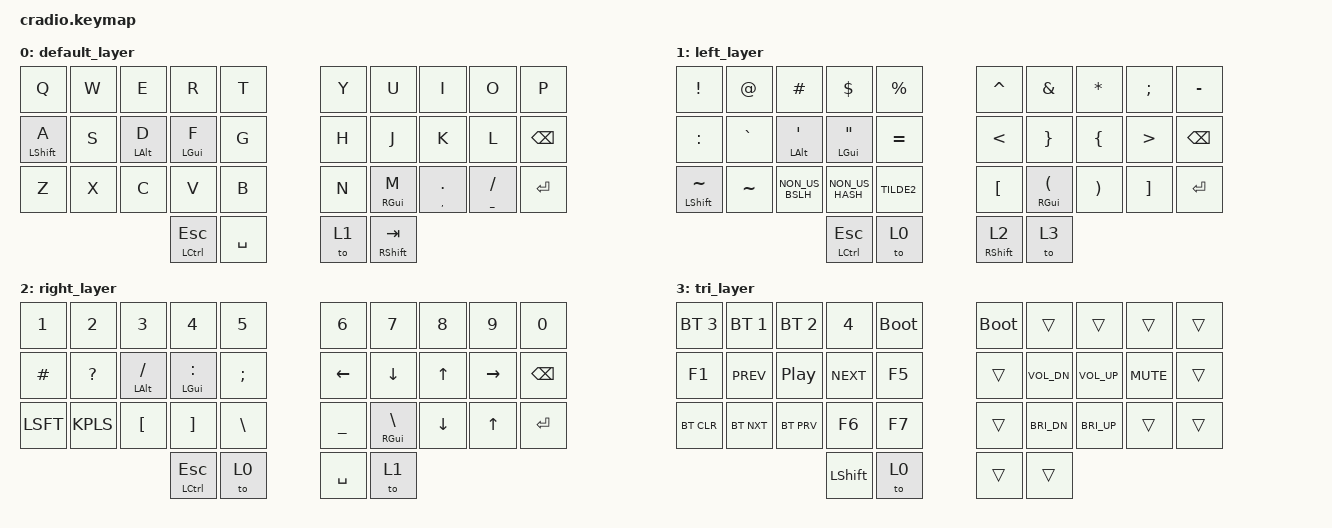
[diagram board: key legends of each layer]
/*
 * Copyright (c) 2020 The ZMK Contributors
 *
 * SPDX-License-Identifier: MIT
 */

#include <behaviors.dtsi>
#include <dt-bindings/zmk/keys.h>
#include <dt-bindings/zmk/bt.h>


&mt {
  //  flavor = "tap-preferred";
   // tapping_term_ms = <200>;
};

/ { 

  combos {
    compatible = "zmk,combos";
    combo_esc {
      timeout-ms = <50>;
      key-positions = <1 2 3>;
      bindings = <&kp ESC>;
    };

    combo_enter {
      timeout-ms = <50>;
      key-positions = <6 7 8>;
      bindings = <&kp BACKSPACE>;
    };

    };

    behaviors {
        tdExclDot: tap_dance_excl_dot {
            compatible = "zmk,behavior-tap-dance";
            label = "TAP_DANCE_EXCL_DOT";
            #binding-cells = <0>;
            tapping-term-ms = <200>;
            bindings = <&kp EXCL>, <&kp DOT>;
        };

        htUnderSlash: hold_tap_under_slash {
            compatible = "zmk,behavior-tap-dance";
            label = "HOLD_TAP_UNDER_SLASH";
            #binding-cells = <0>;
            tapping-term-ms = <200>;
            bindings = <&kp UNDER>, <&kp SLASH>;
        };

        tdGtLt: tap_dance_gt_lt {
            compatible = "zmk,behavior-tap-dance";
            label = "TAP_DANCE_GT_LT";
            #binding-cells = <0>;
            tapping-term-ms = <200>;
            bindings = <&kp GT>, <&kp LT>;
        };

        tdRparLpar: tap_dance_rpar_lpar {
            compatible = "zmk,behavior-tap-dance";
            label = "TAP_DANCE_RPAR_LPAR";
            #binding-cells = <0>;
            tapping-term-ms = <200>;
            bindings = <&kp RPAR>, <&kp LPAR>;
        };

        tdRbktLbkt: tap_dance_rbkt_lbkt {
            compatible = "zmk,behavior-tap-dance";
            label = "TAP_DANCE_RBKT_LBKT";
            #binding-cells = <0>;
            tapping-term-ms = <200>;
            bindings = <&kp UNDER>, <&kp SLASH>;
        };

        hm: homerow_mods {
            compatible = "zmk,behavior-hold-tap";
            label = "HOMEROW_MODS";
            #binding-cells = <2>;
            tapping-term-ms = <200>;
            quick-tap-ms = <0>;
            flavor = "tap-preferred";
            bindings = <&kp>, <&kp>;
        };

        ht_tp: hold_tap_tap_preferred {
            compatible = "zmk,behavior-hold-tap";
            label = "HOLD_TAP";
            #binding-cells = <2>;
            tapping-term-ms = <150>;
            quick-tap-ms = <0>;
            flavor = "tap-preferred";
            bindings = <&kp>, <&kp>;
        };

        lht: layer_hold_tap {
            compatible = "zmk,behavior-hold-tap";
            label = "LAYER_HOLD_TAP";
            #binding-cells = <2>;
            flavor = "tap-preferred";
            tapping-term-ms = <200>;
            quick-tap-ms = <0>;
            bindings = <&kp>, <&to>;
        };
    };

    keymap {
      compatible = "zmk,keymap";
      default_layer {
        bindings = <
          &kp Q   &kp W   &kp E   &kp R   &kp T 						                &kp Y   &kp U   &kp I   &kp O   &kp P 

          &hm LSHIFT A   &kp S   &hm LALT D   &hm LGUI F   &kp G 			      &kp H   &kp J   &kp K   &kp L   &kp BKSP

          &kp Z   &kp X   &kp C   &kp V   &kp B				                      &kp N   &hm RGUI M   &ht_tp COMMA DOT   &ht_tp UNDER SLASH   &kp RET

          &hm LCTL ESC   &kp SPC  			                                    &to 1   &mt RSHIFT TAB
        >;
      };

      left_layer {
        bindings = <
          &kp EXCL   &kp AT   &kp HASH   &kp DLLR   &kp PRCNT		                               &kp CARET   &kp AMPS   &kp STAR   &kp SEMI   &kp MINUS 

          &kp COLON   &kp GRAVE  &hm LALT SQT   &hm LGUI DQT   &kp EQUAL                       &kp LT   &kp RBRC   &kp LBRC   &kp GT   &kp BKSP

          &hm LSHIFT TILDE   &kp TILDE   &kp NON_US_BSLH   &kp NON_US_HASH   &kp TILDE2 	     &kp LBKT   &hm RGUI LPAR   &kp RPAR   &kp RBKT   &kp RET

          &hm LCTL ESC   &to 0   					                                                     &lht RSHIFT 2   &to 3 
        >;
      };
		
      right_layer {
        bindings = <
          &kp N1   &kp N2   &kp N3   &kp N4   &kp N5    			                  &kp N6   &kp N7   &kp N8   &kp N9   &kp N0

          &kp HASH   &kp QMARK   &hm LALT FSLH   &hm LGUI COLN   &kp SCLN 			&kp LEFT   &kp DOWN   &kp UP   &kp RIGHT   &kp BKSP

          &kp LSFT   &kp KPLS   &kp LBKT   &kp RBKT   &kp BSLH    			        &kp UNDER   &hm RGUI BACKSLASH   &kp DOWN   &kp UP   &kp RET

          &hm LCTL ESC   &to 0  				                                        &kp SPC   &to 1 
        >;
      };	
      
      tri_layer {
        bindings = <
          &bt BT_SEL 3   &bt BT_SEL 1   &bt BT_SEL 2   &kp NUM_4   &bootloader 			&bootloader   &trans   &trans   &trans   &trans

          &kp F1   &kp C_PREV   &kp C_PLAY_PAUSE   &kp C_NEXT   &kp F5  						&trans   &kp C_VOL_DN   &kp C_VOL_UP   &kp K_MUTE   &trans 

          &bt BT_CLR   &bt BT_NXT   &bt BT_PRV   &kp F6   &kp F7   				          &trans   &kp C_BRI_DN   &kp C_BRI_UP   &trans   &trans   

          &kp LSHIFT   &to 0  					                                            &trans   &trans 
        >;
      };	
        
	};
};
